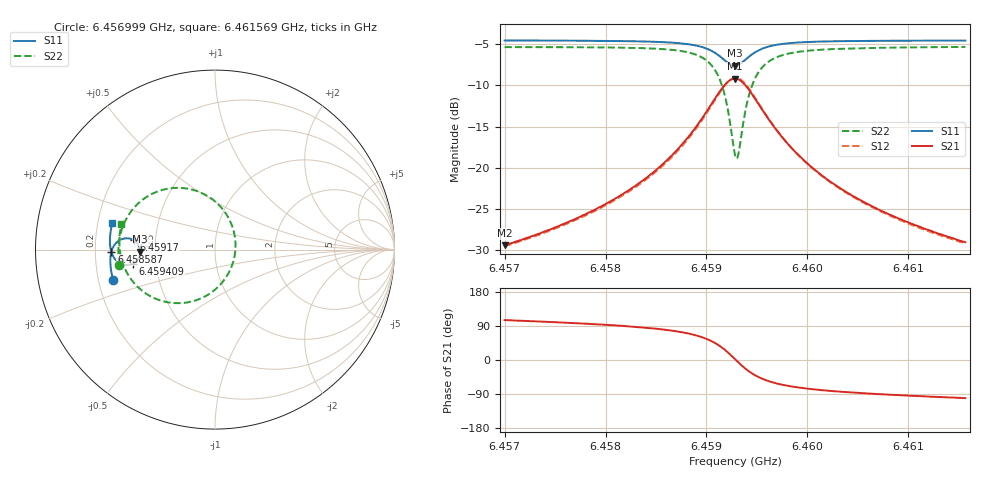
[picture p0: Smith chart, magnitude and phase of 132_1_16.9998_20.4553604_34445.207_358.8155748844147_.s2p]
#  HZ  S  RI  R  50.00
! Rohde & Schwarz Vector Network Analyzer
! Rohde-Schwarz,ZNB20-2Port,1311601062101988,3.16
! Created: UTC 3/20/2024, 10:57:59 PM
! freq[Hz]  re:S11  im:S11  re:S21  im:S21  re:S12  im:S12  re:S22  im:S22
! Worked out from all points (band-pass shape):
!   401 points, 6.456999 GHz to 6.461569 GHz, reference 50 ohm
!   highest |S21| = -9.18 dB at 6.459284 GHz (marker M1); lowest = -29.4 dB at 6.456999 GHz (marker M2)
!   |S21| within 3 dB of the highest: 6.459055 GHz to 6.459512 GHz (456.8 kHz wide, 0.00707 % of centre)
!   lowest |S11| = -7.6 dB at 6.459284 GHz (marker M3), VSWR 2.43, Z = 20.6 - j0.566 ohm
!   |S11| at or under -10 dB: nowhere
!   |S22| runs from -18.9 to -5.3 dB; largest |S21 - S12| = 0.014
!   S11 on the Smith chart (normalised r, x): 6.456999 GHz: 0.26, -0.14; 6.458587 GHz: 0.27, -0.01; 6.45917 GHz: 0.38, +0.05; 6.459409 GHz: 0.37, -0.07; 6.461569 GHz: 0.26, +0.12
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6.4569986e9  -0.5664 -0.1719  -0.00889 0.0326  -0.00718 0.0327  -0.5332 -0.0831
6.4577641e9  -0.5805 -0.1048  -0.00561 0.0509  -0.00298 0.05  -0.5382 0.0069
6.4581755e9  -0.5834 -0.0636  0.000115 0.0696  0.00343 0.0683  -0.5304 0.072
6.4585297e9  -0.5795 -0.0211  0.0144 0.0994  0.0183 0.0966  -0.5042 0.1519
6.4585868e9  -0.5776 -0.0132  0.0187 0.1063  0.0227 0.1031  -0.4958 0.1686
6.4587925e9  -0.5645 0.019  0.0465 0.139  0.0506 0.1339  -0.4439 0.2413
6.458941e9  -0.5417 0.0454  0.0922 0.1696  0.0954 0.1629  -0.36 0.3058
6.4590781e9  -0.4974 0.0629  0.1799 0.1862  0.1809 0.1788  -0.1997 0.3441
6.4591695e9  -0.4524 0.0524  0.2706 0.1544  0.2708 0.1486  -0.0324 0.2926
6.4592381e9  -0.4232 0.02  0.3313 0.0818  0.3334 0.0766  0.0829 0.1617
6.4592838e9  -0.4163 -0.0114  0.3474 0.0134  0.3512 0.00642  0.1144 0.0339
6.4592952e9  -0.4167 -0.0196  0.347 -0.00439  0.3511 -0.0121  0.1139 0.000228
6.4593181e9  -0.4205 -0.0352  0.3414 -0.0392  0.3453 -0.0484  0.1022 -0.0658
6.4593638e9  -0.4362 -0.0616  0.3124 -0.0994  0.3147 -0.1114  0.0436 -0.1789
6.4594095e9  -0.4584 -0.0779  0.27 -0.1405  0.2691 -0.1537  -0.042 -0.2534
6.4595009e9  -0.5021 -0.0849  0.185 -0.1714  0.1787 -0.183  -0.2114 -0.2984
6.4596494e9  -0.5462 -0.0645  0.0967 -0.1573  0.0881 -0.1635  -0.3789 -0.2486
6.4598094e9  -0.5679 -0.0367  0.0517 -0.1294  0.0439 -0.132  -0.4594 -0.1761
6.4600493e9  -0.5809 -0.00131  0.0225 -0.0977  0.0166 -0.0983  -0.5073 -0.0938
6.4604149e9  -0.5856 0.0421  0.00567 -0.0694  0.00176 -0.069  -0.5293 -0.0103
6.4608148e9  -0.5837 0.0823  -0.0015 -0.0521  -0.00424 -0.0513  -0.5328 0.0535
6.461569e9  -0.5718 0.1491  -0.00651 -0.0348  -0.0082 -0.0338  -0.5216 0.1429
